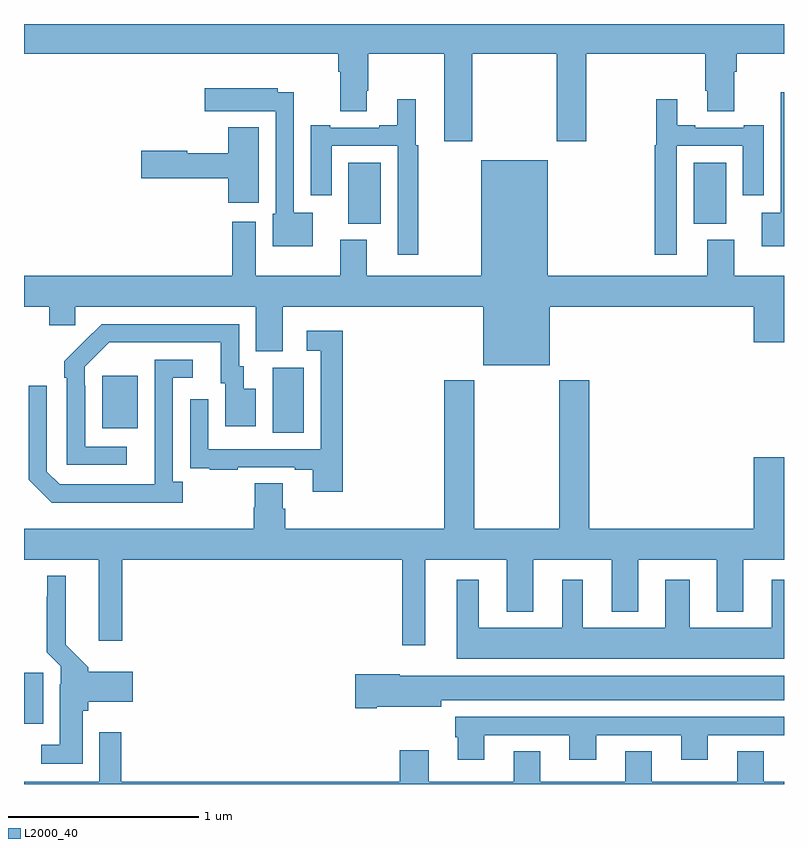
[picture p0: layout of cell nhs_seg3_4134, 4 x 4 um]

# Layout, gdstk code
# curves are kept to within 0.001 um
import gdstk
lib = gdstk.Library(unit=1e-6, precision=1e-09)
def R(c, l, rs):  # rectangles x0, y0, x1, y1
    for r in rs: c.add(gdstk.rectangle(r[:2], r[2:], *l))
def P(c, l, *ps):  # polygons
    for p in ps: c.add(gdstk.Polygon(p, *l))
L2000_40 = (2000, 40)

nhs_seg3_4134 = lib.new_cell('nhs_seg3_4134')
R(nhs_seg3_4134, L2000_40, [(329,702.717,329.101,702.985), (330.308,704.248,330.472,704.592), (329.411,704.273,329.599,704.548), (330.707,705.35,330.877,705.67), (332.525,705.35,332.695,705.67)])
P(nhs_seg3_4134, L2000_40, [(331.359,706.244),(331.804,706.244),(331.804,705.783),(331.959,705.783),(331.959,706.244),(332.585,706.244),(332.585,706.048),(332.597,706.048),(332.597,705.94),(332.737,705.94),(332.737,706.148),(332.75,706.148),(332.75,706.244),(333,706.244),(333,706.4),(329,706.4),(329,706.244),(330.653,706.244),(330.653,706.148),(330.665,706.148),(330.665,705.94),(330.805,705.94),(330.805,706.048),(330.813,706.048),(330.813,706.244),(331.211,706.244),(331.211,705.783),(331.359,705.783)],
  [(330.52,705.406),(330.42,705.406),(330.42,706.04),(330.336,706.04),(330.336,706.063),(329.952,706.063),(329.952,705.941),(330.227,705.941),(330.227,705.942),(330.324,705.942),(330.324,705.402),(330.308,705.402),(330.308,705.23),(330.52,705.23)],
  [(333,706.04),(332.982,706.04),(332.982,705.406),(332.882,705.406),(332.882,705.23),(333,705.23)],
  [(331.075,705.762),(331.063,705.762),(331.063,706.003),(330.965,706.003),(330.965,705.868),(330.869,705.868),(330.869,705.855),(330.613,705.855),(330.613,705.868),(330.509,705.868),(330.509,705.498),(330.619,705.498),(330.619,705.759),(330.966,705.759),(330.966,705.186),(331.075,705.186)],
  [(332.436,705.759),(332.783,705.759),(332.783,705.498),(332.893,705.498),(332.893,705.868),(332.789,705.868),(332.789,705.855),(332.533,705.855),(332.533,705.868),(332.437,705.868),(332.437,706.003),(332.328,706.003),(332.328,705.762),(332.32,705.762),(332.32,705.186),(332.436,705.186)],
  [(330.235,705.856),(330.074,705.856),(330.074,705.721),(329.859,705.721),(329.859,705.734),(329.616,705.734),(329.616,705.587),(330.074,705.587),(330.074,705.459),(330.235,705.459)],
  [(331.768,704.912),(332.84,704.912),(332.84,704.724),(333,704.724),(333,705.076),(332.737,705.076),(332.737,705.265),(332.597,705.265),(332.597,705.076),(331.756,705.076),(331.756,705.682),(331.406,705.682),(331.406,705.076),(330.805,705.076),(330.805,705.265),(330.665,705.265),(330.665,705.076),(330.22,705.076),(330.22,705.358),(330.095,705.358),(330.095,705.076),(329,705.076),(329,704.912),(329.132,704.912),(329.132,704.814),(329.271,704.814),(329.271,704.912),(330.221,704.912),(330.221,704.677),(330.361,704.677),(330.361,704.912),(331.418,704.912),(331.418,704.603),(331.768,704.603)],
  [(329.542,704.175),(329.322,704.175),(329.322,704.495),(329.319,704.495),(329.319,704.595),(329.448,704.724),(330.035,704.724),(330.035,704.508),(330.059,704.508),(330.059,704.283),(330.22,704.283),(330.22,704.479),(330.157,704.479),(330.157,704.598),(330.132,704.598),(330.132,704.82),(329.408,704.82),(329.211,704.625),(329.211,704.537),(329.226,704.537),(329.226,704.079),(329.542,704.079)],
  [(330.677,704.785),(330.489,704.785),(330.489,704.679),(330.561,704.679),(330.561,704.163),(329.97,704.163),(329.97,704.425),(329.874,704.425),(329.874,704.17),(329.875,704.17),(329.875,704.061),(329.977,704.061),(329.977,704.055),(330.125,704.055),(330.125,704.067),(330.425,704.067),(330.425,704.055),(330.521,704.055),(330.521,703.938),(330.677,703.938)],
  [(329.836,703.99),(329.784,703.99),(329.784,704.538),(329.887,704.538),(329.887,704.634),(329.688,704.634),(329.687,703.977),(329.187,703.977),(329.121,704.043),(329.121,704.497),(329.025,704.497),(329.025,704.001),(329.146,703.88),(329.836,703.88)],
  [(331.976,704.524),(331.816,704.524),(331.816,703.744),(331.371,703.744),(331.371,704.524),(331.211,704.524),(331.211,703.744),(330.374,703.744),(330.374,703.85),(330.361,703.85),(330.361,703.982),(330.214,703.982),(330.214,703.857),(330.209,703.857),(330.209,703.744),(329,703.744),(329,703.58),(329.393,703.58),(329.393,703.155),(329.516,703.155),(329.516,703.58),(330.99,703.58),(330.99,703.131),(331.111,703.131),(331.111,703.58),(331.541,703.58),(331.541,703.307),(331.681,703.307),(331.681,703.58),(332.093,703.58),(332.093,703.307),(332.233,703.307),(332.233,703.58),(332.645,703.58),(332.645,703.307),(332.785,703.307),(332.785,703.58),(333,703.58),(333,704.119),(332.84,704.119),(332.84,703.744),(331.976,703.744)],
  [(329.308,702.786),(329.339,702.786),(329.339,702.833),(329.572,702.833),(329.572,702.991),(329.339,702.991),(329.339,703.014),(329.221,703.132),(329.221,703.495),(329.123,703.495),(329.123,703.385),(329.119,703.385),(329.119,703.094),(329.193,703.02),(329.193,702.926),(329.189,702.926),(329.189,702.607),(329.091,702.607),(329.091,702.506),(329.308,702.506)],
  [(333,703.474),(332.936,703.474),(332.936,703.222),(332.503,703.222),(332.503,703.474),(332.375,703.474),(332.375,703.222),(331.942,703.222),(331.942,703.474),(331.832,703.474),(331.832,703.222),(331.393,703.222),(331.393,703.474),(331.277,703.474),(331.277,703.058),(333,703.058)],
  [(330.856,702.806),(331.195,702.806),(331.195,702.842),(333,702.842),(333,702.97),(330.978,702.97),(330.978,702.977),(330.744,702.977),(330.744,702.799),(330.856,702.799)],
  [(331.423,702.657),(331.871,702.657),(331.871,702.528),(332.011,702.528),(332.011,702.657),(332.459,702.657),(332.459,702.528),(332.599,702.528),(332.599,702.657),(333,702.657),(333,702.753),(331.271,702.753),(331.271,702.645),(331.283,702.645),(331.283,702.528),(331.423,702.528)],
  [(333,702.412),(332.893,702.412),(332.893,702.572),(332.753,702.572),(332.753,702.412),(332.305,702.412),(332.305,702.572),(332.165,702.572),(332.165,702.412),(331.717,702.412),(331.717,702.572),(331.577,702.572),(331.577,702.412),(331.129,702.412),(331.129,702.577),(330.977,702.577),(330.977,702.412),(329.513,702.412),(329.513,702.673),(329.397,702.673),(329.397,702.412),(329,702.412),(329,702.4),(333,702.4)])

lib.write_gds('nhs_seg3_4134.gds')
